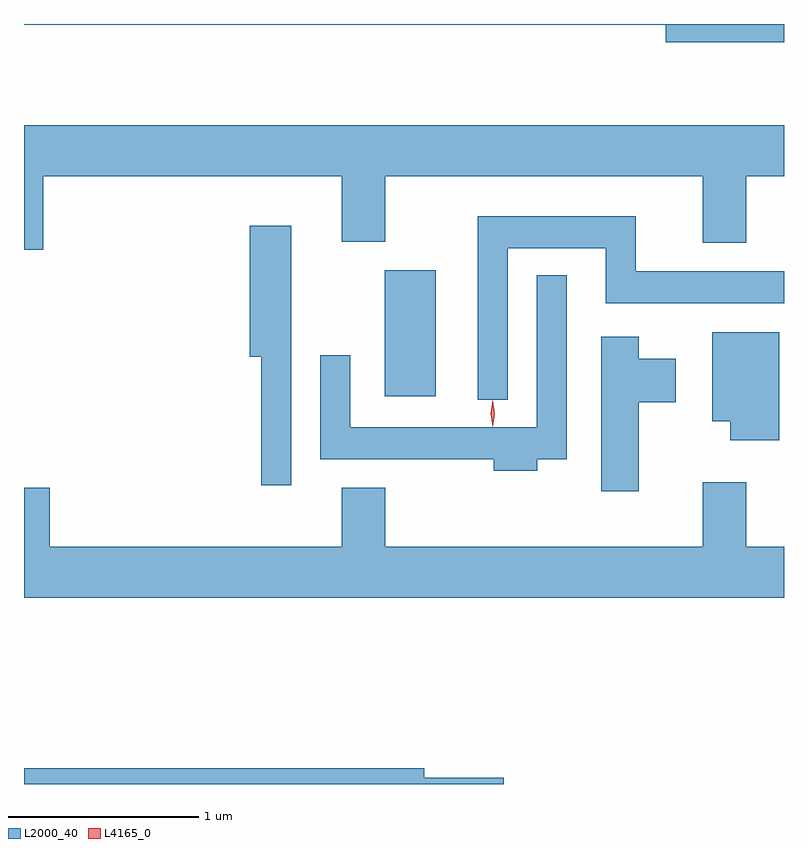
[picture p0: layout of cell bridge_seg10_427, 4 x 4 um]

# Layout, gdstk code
import gdstk
lib = gdstk.Library(unit=1e-6, precision=1e-09)
def R(c, l, rs):  # rectangles x0, y0, x1, y1
    for r in rs: c.add(gdstk.rectangle(r[:2], r[2:], *l))
def P(c, l, *ps):  # polygons
    for p in ps: c.add(gdstk.Polygon(p, *l))
L2000_40 = (2000, 40)
L4165_0 = (4165, 0)

bridge_seg10_427 = lib.new_cell('bridge_seg10_427')
R(bridge_seg10_427, L2000_40, [(1420.726,2139.396,1420.994,2140.059)])
P(bridge_seg10_427, L2000_40, [(1422.828,2141.356),(1418.828,2141.356),(1418.828,2141.351),(1422.206,2141.351),(1422.206,2141.261),(1422.828,2141.261)],
  [(1418.929,2140.556),(1420.501,2140.556),(1420.501,2140.211),(1420.729,2140.211),(1420.729,2140.556),(1422.401,2140.556),(1422.401,2140.206),(1422.629,2140.206),(1422.629,2140.556),(1422.828,2140.556),(1422.828,2140.824),(1418.828,2140.824),(1418.828,2140.168),(1418.929,2140.168)],
  [(1421.374,2140.176),(1421.891,2140.176),(1421.891,2139.886),(1422.828,2139.886),(1422.828,2140.054),(1422.049,2140.054),(1422.049,2140.344),(1421.216,2140.344),(1421.216,2139.378),(1421.374,2139.378)],
  [(1420.234,2140.294),(1420.016,2140.294),(1420.016,2139.606),(1420.076,2139.606),(1420.076,2138.928),(1420.234,2138.928)],
  [(1421.529,2139.066),(1421.684,2139.066),(1421.684,2140.033),(1421.526,2140.033),(1421.526,2139.234),(1420.544,2139.234),(1420.544,2139.613),(1420.386,2139.613),(1420.386,2139.066),(1421.301,2139.066),(1421.301,2139.006),(1421.529,2139.006)],
  [(1422.804,2139.734),(1422.451,2139.734),(1422.451,2139.266),(1422.546,2139.266),(1422.546,2139.166),(1422.804,2139.166)],
  [(1422.064,2139.366),(1422.259,2139.366),(1422.259,2139.594),(1422.064,2139.594),(1422.064,2139.709),(1421.866,2139.709),(1421.866,2138.896),(1422.064,2138.896)],
  [(1422.828,2138.604),(1422.629,2138.604),(1422.629,2138.944),(1422.401,2138.944),(1422.401,2138.604),(1420.729,2138.604),(1420.729,2138.914),(1420.501,2138.914),(1420.501,2138.604),(1418.964,2138.604),(1418.964,2138.914),(1418.828,2138.914),(1418.828,2138.336),(1422.828,2138.336)],
  [(1421.354,2137.389),(1420.934,2137.389),(1420.934,2137.439),(1418.828,2137.439),(1418.828,2137.356),(1421.354,2137.356)])
P(bridge_seg10_427, L4165_0, [(1421.294,2139.237),(1421.285,2139.306),(1421.294,2139.376),(1421.295,2139.376),(1421.295,2139.376),(1421.305,2139.306),(1421.295,2139.237),(1421.295,2139.237)],
  [(1421.294,2139.239),(1421.294,2139.24),(1421.284,2139.306),(1421.294,2139.372),(1421.294,2139.373),(1421.295,2139.372),(1421.304,2139.306),(1421.295,2139.24)])

lib.write_gds('bridge_seg10_427.gds')
